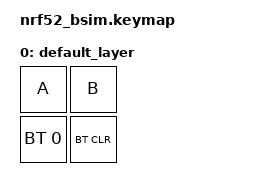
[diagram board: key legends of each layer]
#include <behaviors.dtsi>
#include <dt-bindings/zmk/bt.h>
#include <dt-bindings/zmk/keys.h>
#include <dt-bindings/zmk/matrix_transform.h>
#include <physical_layouts.dtsi>

&kscan {
    /delete-property/ exit-after;
    events = <>;
};
/ {
    /* CONFIG_ZMK_STUDIO (enabled on the central) requires a physical
     * layout with key positions; kscan falls back to the board's chosen
     * zmk,kscan. */
    physical_layout: physical_layout {
        compatible = "zmk,physical-layout";
        display-name = "Test layout";
        transform = <&test_transform>;
        keys /* w h x y rot rx ry */
            = <&key_physical_attrs 100 100   0 0 0 0 0>
            , <&key_physical_attrs 100 100 100 0 0 0 0>
            , <&key_physical_attrs 100 100   0 100 0 0 0>
            , <&key_physical_attrs 100 100 100 100 0 0 0>
            ;
    };

    test_transform: test_transform {
        compatible = "zmk,matrix-transform";
        columns = <2>;
        rows = <2>;
        map = <
            RC(0,0) RC(0,1)
            RC(1,0) RC(1,1)
        >;
    };

    /* One runtime-accel instance so the GetCurve RPC in
     * studio_requests.json has a deterministic devicetree default to
     * return. Shared with the peripheral build (harmless there). */
    rta_pointer: rta_pointer {
        compatible = "zmk,input-processor-runtime-accel";
        #input-processor-cells = <0>;
        instance-id = "pointer";
        default-curve = <0 1000 1000 3000>;
    };

    keymap {
        compatible = "zmk,keymap";

        default_layer {
            bindings = <
            &kp A &kp B
            &bt BT_SEL 0 &bt BT_CLR>;
        };
    };
};
